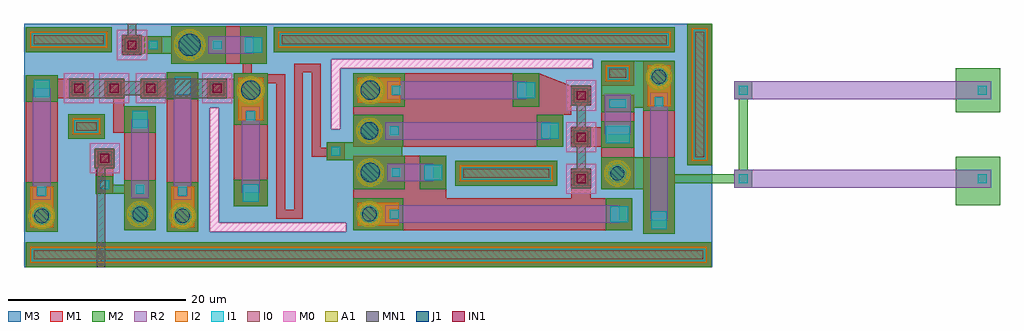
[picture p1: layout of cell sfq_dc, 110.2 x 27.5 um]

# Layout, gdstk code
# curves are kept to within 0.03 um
from math import pi, radians
import gdstk
lib = gdstk.Library(unit=1e-6, precision=1e-09)
def R(c, l, rs):  # rectangles x0, y0, x1, y1
    for r in rs: c.add(gdstk.rectangle(r[:2], r[2:], *l))
def P(c, l, *ps):  # polygons
    for p in ps: c.add(gdstk.Polygon(p, *l))
M1 = (1, 0)
I1 = (3, 0)
J1 = (4, 0)
A1 = (5, 0)
M2 = (6, 0)
I2 = (8, 0)
R2 = (9, 0)
M3 = (10, 0)
M0 = (30, 0)
I0 = (31, 0)
IN1 = (32, 0)
MN1 = (34, 0)

ak_qc6p01j47 = lib.new_cell('ak_qc6p01j47')
P(ak_qc6p01j47, M1, [(-0.031,-1.8),(-0.374,-1.761),(-0.703,-1.657),(-1.007,-1.492),(-1.273,-1.273),(-1.51,-0.98),(-1.669,-0.674),(-1.773,-0.313),(-1.8,0.031),(-1.761,0.374),(-1.657,0.703),(-1.492,1.007),(-1.273,1.273),(-0.98,1.51),(-0.674,1.669),(-0.313,1.773),(0.031,1.8),(0.374,1.761),(0.703,1.657),(1.007,1.492),(1.273,1.273),(1.51,0.98),(1.669,0.674),(1.773,0.313),(1.8,-0.031),(1.761,-0.374),(1.657,-0.703),(1.492,-1.007),(1.273,-1.273),(0.98,-1.51),(0.674,-1.669),(0.313,-1.773)])
P(ak_qc6p01j47, I1, [(-0.017,-1),(-0.391,-0.921),(-0.719,-0.695),(-0.921,-0.391),(-1,0.017),(-0.921,0.391),(-0.695,0.719),(-0.391,0.921),(0.017,1),(0.391,0.921),(0.719,0.695),(0.921,0.391),(1,-0.017),(0.921,-0.391),(0.695,-0.719),(0.391,-0.921)])
P(ak_qc6p01j47, J1, [(-0.14,-0.78),(-0.34,-0.72),(-0.66,-0.44),(-0.76,-0.22),(-0.78,0.14),(-0.7,0.38),(-0.46,0.64),(-0.14,0.78),(0.14,0.78),(0.44,0.66),(0.68,0.4),(0.78,0.14),(0.78,-0.14),(0.66,-0.44),(0.46,-0.64),(0.14,-0.78)])
P(ak_qc6p01j47, A1, [(-0.026,-1.5),(-0.586,-1.381),(-1.061,-1.061),(-1.244,-0.839),(-1.391,-0.562),(-1.5,0.026),(-1.381,0.586),(-1.061,1.061),(-0.839,1.244),(-0.562,1.391),(0.026,1.5),(0.586,1.381),(1.061,1.061),(1.244,0.839),(1.391,0.562),(1.5,-0.026),(1.381,-0.586),(1.061,-1.061),(0.839,-1.244),(0.562,-1.391)])
P(ak_qc6p01j47, M2, [(-0.031,-1.8),(-0.374,-1.761),(-0.703,-1.657),(-1.007,-1.492),(-1.273,-1.273),(-1.51,-0.98),(-1.669,-0.674),(-1.773,-0.313),(-1.8,0.031),(-1.761,0.374),(-1.657,0.703),(-1.492,1.007),(-1.273,1.273),(-0.98,1.51),(-0.674,1.669),(-0.313,1.773),(0.031,1.8),(0.374,1.761),(0.703,1.657),(1.007,1.492),(1.273,1.273),(1.51,0.98),(1.669,0.674),(1.773,0.313),(1.8,-0.031),(1.761,-0.374),(1.657,-0.703),(1.492,-1.007),(1.273,-1.273),(0.98,-1.51),(0.674,-1.669),(0.313,-1.773)])

ak_qc6p06r65 = lib.new_cell('ak_qc6p06r65')
R(ak_qc6p06r65, I1, [(-0.9,-16.7,0.9,-14.7), (-0.5,-1.5,0.5,-0.5)])
R(ak_qc6p06r65, M2, [(-1.4,-17.2,1.4,-14.2), (-1.4,-2,1.4,0)])
R(ak_qc6p06r65, R2, [(-1,-15.7,1,0)])

ak_qc6p03j00_1 = lib.new_cell('ak_qc6p03j00$1')
P(ak_qc6p03j00_1, M1, [(-0.033,-1.9),(-0.363,-1.865),(-0.712,-1.762),(-1.035,-1.593),(-1.344,-1.344),(-1.593,-1.035),(-1.762,-0.712),(-1.865,-0.363),(-1.9,0.033),(-1.865,0.363),(-1.762,0.712),(-1.593,1.035),(-1.344,1.344),(-1.035,1.593),(-0.712,1.762),(-0.363,1.865),(0.033,1.9),(0.363,1.865),(0.712,1.762),(1.035,1.593),(1.344,1.344),(1.593,1.035),(1.762,0.712),(1.865,0.363),(1.9,-0.033),(1.865,-0.363),(1.762,-0.712),(1.593,-1.035),(1.344,-1.344),(1.035,-1.593),(0.712,-1.762),(0.363,-1.865)])
P(ak_qc6p03j00_1, I1, [(-0.019,-1.1),(-0.43,-1.013),(-0.778,-0.778),(-1.013,-0.43),(-1.1,0.019),(-1.013,0.43),(-0.778,0.778),(-0.43,1.013),(0.019,1.1),(0.43,1.013),(0.778,0.778),(1.013,0.43),(1.1,-0.019),(1.013,-0.43),(0.778,-0.778),(0.43,-1.013)])
P(ak_qc6p03j00_1, J1, [(-0.12,-1.08),(-0.58,-0.92),(-0.86,-0.66),(-1.04,-0.3),(-1.08,0.1),(-0.94,0.54),(-0.7,0.82),(-0.3,1.04),(0.12,1.08),(0.58,0.92),(0.86,0.66),(1.04,0.3),(1.08,-0.1),(0.94,-0.54),(0.7,-0.82),(0.3,-1.04)])
P(ak_qc6p03j00_1, A1, [(-0.028,-1.6),(-0.333,-1.565),(-0.651,-1.462),(-1.151,-1.111),(-1.357,-0.848),(-1.494,-0.573),(-1.6,0.028),(-1.565,0.333),(-1.462,0.651),(-1.111,1.151),(-0.848,1.357),(-0.573,1.494),(0.028,1.6),(0.333,1.565),(0.651,1.462),(1.151,1.111),(1.357,0.848),(1.494,0.573),(1.6,-0.028),(1.565,-0.333),(1.462,-0.651),(1.111,-1.151),(0.848,-1.357),(0.573,-1.494)])
P(ak_qc6p03j00_1, M2, [(-0.033,-1.9),(-0.363,-1.865),(-0.712,-1.762),(-1.035,-1.593),(-1.344,-1.344),(-1.593,-1.035),(-1.762,-0.712),(-1.865,-0.363),(-1.9,0.033),(-1.865,0.363),(-1.762,0.712),(-1.593,1.035),(-1.344,1.344),(-1.035,1.593),(-0.712,1.762),(-0.363,1.865),(0.033,1.9),(0.363,1.865),(0.712,1.762),(1.035,1.593),(1.344,1.344),(1.593,1.035),(1.762,0.712),(1.865,0.363),(1.9,-0.033),(1.865,-0.363),(1.762,-0.712),(1.593,-1.035),(1.344,-1.344),(1.035,-1.593),(0.712,-1.762),(0.363,-1.865)])

ak_qc6p03j00s2v00 = lib.new_cell('ak_qc6p03j00s2v00')
R(ak_qc6p03j00s2v00, M1, [(-1.9,-19.1,1.9,1.9)])
R(ak_qc6p03j00s2v00, M2, [(-1.9,-19.1,1.9,-16.1), (-1.9,-3.9,1.9,1.9)])
ak_qc6p03j00s2v00.add(gdstk.Reference(ak_qc6p06r65, (0,-1.9)))
ak_qc6p03j00s2v00.add(gdstk.Reference(ak_qc6p03j00_1, (0,0)))

ak_qc6p03j00s2v00gu = lib.new_cell('ak_qc6p03j00s2v00gu')
R(ak_qc6p03j00s2v00gu, I2, [(-1.4,-3.4,1.4,1.4)])
R(ak_qc6p03j00s2v00gu, M3, [(-1.9,-3.9,1.9,1.9)])
ak_qc6p03j00s2v00gu.add(gdstk.Reference(ak_qc6p03j00s2v00, (0,0)))

ak_qc6p05r99 = lib.new_cell('ak_qc6p05r99')
R(ak_qc6p05r99, I1, [(-0.9,-15.4,0.9,-13.4), (-0.5,-1.5,0.5,-0.5)])
R(ak_qc6p05r99, M2, [(-1.4,-15.9,1.4,-12.9), (-1.4,-2,1.4,0)])
R(ak_qc6p05r99, R2, [(-1,-14.4,1,0)])

ak_qc6p01j61 = lib.new_cell('ak_qc6p01j61')
P(ak_qc6p01j61, M1, [(-0.031,-1.8),(-0.374,-1.761),(-0.703,-1.657),(-1.007,-1.492),(-1.273,-1.273),(-1.51,-0.98),(-1.669,-0.674),(-1.773,-0.313),(-1.8,0.031),(-1.761,0.374),(-1.657,0.703),(-1.492,1.007),(-1.273,1.273),(-0.98,1.51),(-0.674,1.669),(-0.313,1.773),(0.031,1.8),(0.374,1.761),(0.703,1.657),(1.007,1.492),(1.273,1.273),(1.51,0.98),(1.669,0.674),(1.773,0.313),(1.8,-0.031),(1.761,-0.374),(1.657,-0.703),(1.492,-1.007),(1.273,-1.273),(0.98,-1.51),(0.674,-1.669),(0.313,-1.773)])
P(ak_qc6p01j61, I1, [(-0.017,-1),(-0.391,-0.921),(-0.719,-0.695),(-0.921,-0.391),(-1,0.017),(-0.921,0.391),(-0.695,0.719),(-0.391,0.921),(0.017,1),(0.391,0.921),(0.719,0.695),(0.921,0.391),(1,-0.017),(0.921,-0.391),(0.695,-0.719),(0.391,-0.921)])
P(ak_qc6p01j61, J1, [(-0.08,-0.82),(-0.4,-0.72),(-0.68,-0.46),(-0.8,-0.2),(-0.82,0.1),(-0.7,0.44),(-0.54,0.62),(-0.18,0.8),(0.08,0.82),(0.4,0.72),(0.68,0.46),(0.8,0.2),(0.82,-0.1),(0.7,-0.44),(0.54,-0.62),(0.18,-0.8)])
P(ak_qc6p01j61, A1, [(-0.026,-1.5),(-0.586,-1.381),(-1.061,-1.061),(-1.244,-0.839),(-1.391,-0.562),(-1.5,0.026),(-1.381,0.586),(-1.061,1.061),(-0.839,1.244),(-0.562,1.391),(0.026,1.5),(0.586,1.381),(1.061,1.061),(1.244,0.839),(1.391,0.562),(1.5,-0.026),(1.381,-0.586),(1.061,-1.061),(0.839,-1.244),(0.562,-1.391)])
P(ak_qc6p01j61, M2, [(-0.031,-1.8),(-0.374,-1.761),(-0.703,-1.657),(-1.007,-1.492),(-1.273,-1.273),(-1.51,-0.98),(-1.669,-0.674),(-1.773,-0.313),(-1.8,0.031),(-1.761,0.374),(-1.657,0.703),(-1.492,1.007),(-1.273,1.273),(-0.98,1.51),(-0.674,1.669),(-0.313,1.773),(0.031,1.8),(0.374,1.761),(0.703,1.657),(1.007,1.492),(1.273,1.273),(1.51,0.98),(1.669,0.674),(1.773,0.313),(1.8,-0.031),(1.761,-0.374),(1.657,-0.703),(1.492,-1.007),(1.273,-1.273),(0.98,-1.51),(0.674,-1.669),(0.313,-1.773)])

ak_qc6p01j61s1v13 = lib.new_cell('ak_qc6p01j61s1v13')
R(ak_qc6p01j61s1v13, M1, [(-1.8,-17.7,1.8,1.8)])
R(ak_qc6p01j61s1v13, M2, [(-1.8,-17.7,1.8,-14.7), (-1.8,-3.8,1.8,1.8)])
ak_qc6p01j61s1v13.add(gdstk.Reference(ak_qc6p05r99, (0,-1.8)))
ak_qc6p01j61s1v13.add(gdstk.Reference(ak_qc6p01j61, (0,0)))

ak_qc6p01j61s1v13gu = lib.new_cell('ak_qc6p01j61s1v13gu')
R(ak_qc6p01j61s1v13gu, I2, [(-1.3,-3.3,1.3,1.3)])
R(ak_qc6p01j61s1v13gu, M3, [(-1.8,-3.8,1.8,1.8)])
ak_qc6p01j61s1v13gu.add(gdstk.Reference(ak_qc6p01j61s1v13, (0,0)))

ak_qc6p03r24 = lib.new_cell('ak_qc6p03r24')
R(ak_qc6p03r24, I1, [(-0.9,-9.9,0.9,-7.9), (-0.5,-1.5,0.5,-0.5)])
R(ak_qc6p03r24, M2, [(-1.4,-10.4,1.4,-7.4), (-1.4,-2,1.4,0)])
R(ak_qc6p03r24, R2, [(-1,-8.9,1,0)])

ak_qc6p01j72 = lib.new_cell('ak_qc6p01j72')
P(ak_qc6p01j72, M1, [(-0.031,-1.8),(-0.374,-1.761),(-0.703,-1.657),(-1.007,-1.492),(-1.273,-1.273),(-1.51,-0.98),(-1.669,-0.674),(-1.773,-0.313),(-1.8,0.031),(-1.761,0.374),(-1.657,0.703),(-1.492,1.007),(-1.273,1.273),(-0.98,1.51),(-0.674,1.669),(-0.313,1.773),(0.031,1.8),(0.374,1.761),(0.703,1.657),(1.007,1.492),(1.273,1.273),(1.51,0.98),(1.669,0.674),(1.773,0.313),(1.8,-0.031),(1.761,-0.374),(1.657,-0.703),(1.492,-1.007),(1.273,-1.273),(0.98,-1.51),(0.674,-1.669),(0.313,-1.773)])
P(ak_qc6p01j72, I1, [(-0.017,-1),(-0.391,-0.921),(-0.719,-0.695),(-0.921,-0.391),(-1,0.017),(-0.921,0.391),(-0.695,0.719),(-0.391,0.921),(0.017,1),(0.391,0.921),(0.719,0.695),(0.921,0.391),(1,-0.017),(0.921,-0.391),(0.695,-0.719),(0.391,-0.921)])
P(ak_qc6p01j72, J1, [(-0.12,-0.84),(-0.42,-0.74),(-0.68,-0.5),(-0.82,-0.2),(-0.84,0.12),(-0.74,0.42),(-0.48,0.7),(-0.22,0.82),(0.12,0.84),(0.48,0.7),(0.68,0.5),(0.82,0.22),(0.84,-0.12),(0.7,-0.48),(0.52,-0.66),(0.2,-0.82)])
P(ak_qc6p01j72, A1, [(-0.026,-1.5),(-0.586,-1.381),(-1.061,-1.061),(-1.244,-0.839),(-1.391,-0.562),(-1.5,0.026),(-1.381,0.586),(-1.061,1.061),(-0.839,1.244),(-0.562,1.391),(0.026,1.5),(0.586,1.381),(1.061,1.061),(1.244,0.839),(1.391,0.562),(1.5,-0.026),(1.381,-0.586),(1.061,-1.061),(0.839,-1.244),(0.562,-1.391)])
P(ak_qc6p01j72, M2, [(-0.031,-1.8),(-0.374,-1.761),(-0.703,-1.657),(-1.007,-1.492),(-1.273,-1.273),(-1.51,-0.98),(-1.669,-0.674),(-1.773,-0.313),(-1.8,0.031),(-1.761,0.374),(-1.657,0.703),(-1.492,1.007),(-1.273,1.273),(-0.98,1.51),(-0.674,1.669),(-0.313,1.773),(0.031,1.8),(0.374,1.761),(0.703,1.657),(1.007,1.492),(1.273,1.273),(1.51,0.98),(1.669,0.674),(1.773,0.313),(1.8,-0.031),(1.761,-0.374),(1.657,-0.703),(1.492,-1.007),(1.273,-1.273),(0.98,-1.51),(0.674,-1.669),(0.313,-1.773)])

ak_qc6p01j72s0v70 = lib.new_cell('ak_qc6p01j72s0v70')
R(ak_qc6p01j72s0v70, M1, [(-1.8,-12.2,1.8,1.8)])
R(ak_qc6p01j72s0v70, M2, [(-1.8,-12.2,1.8,-9.2), (-1.8,-3.8,1.8,1.8)])
ak_qc6p01j72s0v70.add(gdstk.Reference(ak_qc6p03r24, (0,-1.8)))
ak_qc6p01j72s0v70.add(gdstk.Reference(ak_qc6p01j72, (0,0)))

ak_qc6vm1mn1_1 = lib.new_cell('ak_qc6vm1mn1$1')
R(ak_qc6vm1mn1_1, M1, [(-1.1,-1.1,1.1,1.1)])
R(ak_qc6vm1mn1_1, I0, [(-0.8,-0.8,0.8,0.8)])
R(ak_qc6vm1mn1_1, IN1, [(-0.5,-0.5,0.5,0.5)])
R(ak_qc6vm1mn1_1, MN1, [(-1.1,-1.1,1.1,1.1)])
ak_qc6vm1mn1_1.add(gdstk.FlexPath([(-1.4,1.7),(-1.4,-1.4),(1.4,-1.4),(1.4,1.4),(-1.1,1.4)], 0.6, ends="flush", simple_path=True, layer=30, datatype=0))  # M0

ak_qc6p05r09 = lib.new_cell('ak_qc6p05r09')
R(ak_qc6p05r09, I1, [(-0.9,-13.6,0.9,-11.6), (-0.5,-1.5,0.5,-0.5)])
R(ak_qc6p05r09, M2, [(-1.4,-14.1,1.4,-11.1), (-1.4,-2,1.4,0)])
R(ak_qc6p05r09, R2, [(-1,-12.6,1,0)])

ak_qc6p01j64 = lib.new_cell('ak_qc6p01j64')
P(ak_qc6p01j64, M1, [(-0.031,-1.8),(-0.374,-1.761),(-0.703,-1.657),(-1.007,-1.492),(-1.273,-1.273),(-1.51,-0.98),(-1.669,-0.674),(-1.773,-0.313),(-1.8,0.031),(-1.761,0.374),(-1.657,0.703),(-1.492,1.007),(-1.273,1.273),(-0.98,1.51),(-0.674,1.669),(-0.313,1.773),(0.031,1.8),(0.374,1.761),(0.703,1.657),(1.007,1.492),(1.273,1.273),(1.51,0.98),(1.669,0.674),(1.773,0.313),(1.8,-0.031),(1.761,-0.374),(1.657,-0.703),(1.492,-1.007),(1.273,-1.273),(0.98,-1.51),(0.674,-1.669),(0.313,-1.773)])
P(ak_qc6p01j64, I1, [(-0.017,-1),(-0.391,-0.921),(-0.719,-0.695),(-0.921,-0.391),(-1,0.017),(-0.921,0.391),(-0.695,0.719),(-0.391,0.921),(0.017,1),(0.391,0.921),(0.719,0.695),(0.921,0.391),(1,-0.017),(0.921,-0.391),(0.695,-0.719),(0.391,-0.921)])
P(ak_qc6p01j64, J1, [(-0.14,-0.82),(-0.38,-0.74),(-0.66,-0.5),(-0.8,-0.22),(-0.82,0.14),(-0.72,0.42),(-0.44,0.7),(-0.14,0.82),(0.12,0.82),(0.48,0.68),(0.7,0.44),(0.82,0.14),(0.82,-0.14),(0.68,-0.48),(0.5,-0.66),(0.22,-0.8)])
P(ak_qc6p01j64, A1, [(-0.026,-1.5),(-0.586,-1.381),(-1.061,-1.061),(-1.244,-0.839),(-1.391,-0.562),(-1.5,0.026),(-1.381,0.586),(-1.061,1.061),(-0.839,1.244),(-0.562,1.391),(0.026,1.5),(0.586,1.381),(1.061,1.061),(1.244,0.839),(1.391,0.562),(1.5,-0.026),(1.381,-0.586),(1.061,-1.061),(0.839,-1.244),(0.562,-1.391)])
P(ak_qc6p01j64, M2, [(-0.031,-1.8),(-0.374,-1.761),(-0.703,-1.657),(-1.007,-1.492),(-1.273,-1.273),(-1.51,-0.98),(-1.669,-0.674),(-1.773,-0.313),(-1.8,0.031),(-1.761,0.374),(-1.657,0.703),(-1.492,1.007),(-1.273,1.273),(-0.98,1.51),(-0.674,1.669),(-0.313,1.773),(0.031,1.8),(0.374,1.761),(0.703,1.657),(1.007,1.492),(1.273,1.273),(1.51,0.98),(1.669,0.674),(1.773,0.313),(1.8,-0.031),(1.761,-0.374),(1.657,-0.703),(1.492,-1.007),(1.273,-1.273),(0.98,-1.51),(0.674,-1.669),(0.313,-1.773)])

ak_qc6p01j64s = lib.new_cell('ak_qc6p01j64s')
R(ak_qc6p01j64s, M1, [(-1.8,-15.9,1.8,1.8)])
R(ak_qc6p01j64s, M2, [(-1.8,-15.9,1.8,-12.9), (-1.8,-3.8,1.8,1.8)])
ak_qc6p01j64s.add(gdstk.Reference(ak_qc6p05r09, (0,-1.8)))
ak_qc6p01j64s.add(gdstk.Reference(ak_qc6p01j64, (0,0)))

ak_qc6p01j64sgu = lib.new_cell('ak_qc6p01j64sgu')
R(ak_qc6p01j64sgu, I2, [(-1.3,-3.3,1.3,1.3)])
R(ak_qc6p01j64sgu, M3, [(-1.8,-3.8,1.8,1.8)])
ak_qc6p01j64sgu.add(gdstk.Reference(ak_qc6p01j64s, (0,0)))

ak_qc6vm21_1 = lib.new_cell('ak_qc6vm21$1')
R(ak_qc6vm21_1, M1, [(-1,-1,1,1)])
R(ak_qc6vm21_1, I1, [(-0.5,-0.5,0.5,0.5)])
R(ak_qc6vm21_1, M2, [(-1,-1,1,1)])

ak_qc6vm2r2_1 = lib.new_cell('ak_qc6vm2r2$1')
R(ak_qc6vm2r2_1, I1, [(-0.5,-0.5,0.5,0.5)])
R(ak_qc6vm2r2_1, M2, [(-1,-1,1,1)])
R(ak_qc6vm2r2_1, R2, [(-1,-1,1,1)])

ak_qc6p01r36 = lib.new_cell('ak_qc6p01r36')
R(ak_qc6p01r36, I1, [(-0.9,-6.1,0.9,-4.1), (-0.5,-1.5,0.5,-0.5)])
R(ak_qc6p01r36, M2, [(-1.4,-6.6,1.4,-3.6), (-1.4,-2,1.4,0)])
R(ak_qc6p01r36, R2, [(-1,-5.1,1,0)])

ak_qc6p04j10 = lib.new_cell('ak_qc6p04j10')
P(ak_qc6p04j10, M1, [(-0.037,-2.1),(-0.437,-2.054),(-0.821,-1.933),(-1.205,-1.72),(-1.511,-1.459),(-1.781,-1.113),(-1.961,-0.753),(-2.068,-0.365),(-2.1,0.037),(-2.054,0.437),(-1.933,0.821),(-1.72,1.205),(-1.459,1.511),(-1.113,1.781),(-0.753,1.961),(-0.365,2.068),(0.037,2.1),(0.437,2.054),(0.821,1.933),(1.205,1.72),(1.511,1.459),(1.781,1.113),(1.961,0.753),(2.068,0.365),(2.1,-0.037),(2.054,-0.437),(1.933,-0.821),(1.72,-1.205),(1.459,-1.511),(1.113,-1.781),(0.753,-1.961),(0.365,-2.068)])
P(ak_qc6p04j10, I1, [(-0.021,-1.2),(-0.469,-1.105),(-0.849,-0.849),(-1.113,-0.45),(-1.2,0.021),(-1.105,0.469),(-0.849,0.849),(-0.45,1.113),(0.021,1.2),(0.469,1.105),(0.849,0.849),(1.113,0.45),(1.2,-0.021),(1.105,-0.469),(0.849,-0.849),(0.45,-1.113)])
P(ak_qc6p04j10, J1, [(-0.18,-1.24),(-0.64,-1.08),(-1.02,-0.72),(-1.22,-0.28),(-1.24,0.18),(-1.08,0.64),(-0.72,1.02),(-0.28,1.22),(0.18,1.24),(0.64,1.08),(1.02,0.72),(1.22,0.28),(1.24,-0.18),(1.08,-0.64),(0.72,-1.02),(0.28,-1.22)])
P(ak_qc6p04j10, A1, [(-0.031,-1.8),(-0.374,-1.761),(-0.703,-1.657),(-1.007,-1.492),(-1.273,-1.273),(-1.51,-0.98),(-1.669,-0.674),(-1.773,-0.313),(-1.8,0.031),(-1.761,0.374),(-1.657,0.703),(-1.492,1.007),(-1.273,1.273),(-0.98,1.51),(-0.674,1.669),(-0.313,1.773),(0.031,1.8),(0.374,1.761),(0.703,1.657),(1.007,1.492),(1.273,1.273),(1.51,0.98),(1.669,0.674),(1.773,0.313),(1.8,-0.031),(1.761,-0.374),(1.657,-0.703),(1.492,-1.007),(1.273,-1.273),(0.98,-1.51),(0.674,-1.669),(0.313,-1.773)])
P(ak_qc6p04j10, M2, [(-0.037,-2.1),(-0.437,-2.054),(-0.821,-1.933),(-1.205,-1.72),(-1.511,-1.459),(-1.781,-1.113),(-1.961,-0.753),(-2.068,-0.365),(-2.1,0.037),(-2.054,0.437),(-1.933,0.821),(-1.72,1.205),(-1.459,1.511),(-1.113,1.781),(-0.753,1.961),(-0.365,2.068),(0.037,2.1),(0.437,2.054),(0.821,1.933),(1.205,1.72),(1.511,1.459),(1.781,1.113),(1.961,0.753),(2.068,0.365),(2.1,-0.037),(2.054,-0.437),(1.933,-0.821),(1.72,-1.205),(1.459,-1.511),(1.113,-1.781),(0.753,-1.961),(0.365,-2.068)])

ak_qc6p04j10s0v70 = lib.new_cell('ak_qc6p04j10s0v70')
R(ak_qc6p04j10s0v70, M1, [(-2.1,-8.7,2.1,2.1)])
R(ak_qc6p04j10s0v70, M2, [(-2.1,-8.7,2.1,-5.7), (-2.1,-4.1,2.1,2.1)])
ak_qc6p04j10s0v70.add(gdstk.Reference(ak_qc6p01r36, (0,-2.1)))
ak_qc6p04j10s0v70.add(gdstk.Reference(ak_qc6p04j10, (0,0)))

ak_qc6p01r40 = lib.new_cell('ak_qc6p01r40')
R(ak_qc6p01r40, I1, [(-0.9,-6.2,0.9,-4.2), (-0.5,-1.5,0.5,-0.5)])
R(ak_qc6p01r40, M2, [(-1.4,-6.7,1.4,-3.7), (-1.4,-2,1.4,0)])
R(ak_qc6p01r40, R2, [(-1,-5.2,1,0)])

ak_qc6p03j00s0v54 = lib.new_cell('ak_qc6p03j00s0v54')
R(ak_qc6p03j00s0v54, M1, [(-1.9,-8.6,1.9,1.9)])
R(ak_qc6p03j00s0v54, M2, [(-1.9,-8.6,1.9,-5.6), (-1.9,-3.9,1.9,1.9)])
ak_qc6p03j00s0v54.add(gdstk.Reference(ak_qc6p01r40, (0,-1.9)))
ak_qc6p03j00s0v54.add(gdstk.Reference(ak_qc6p03j00_1, (0,0)))

ak_qc6p08r11 = lib.new_cell('ak_qc6p08r11')
R(ak_qc6p08r11, I1, [(-0.9,-19.6,0.9,-17.6), (-0.5,-1.5,0.5,-0.5)])
R(ak_qc6p08r11, M2, [(-1.4,-20.1,1.4,-17.1), (-1.4,-2,1.4,0)])
R(ak_qc6p08r11, R2, [(-1,-18.6,1,0)])

ak_qc6p02j46 = lib.new_cell('ak_qc6p02j46')
P(ak_qc6p02j46, M1, [(-0.031,-1.8),(-0.374,-1.761),(-0.703,-1.657),(-1.007,-1.492),(-1.273,-1.273),(-1.51,-0.98),(-1.669,-0.674),(-1.773,-0.313),(-1.8,0.031),(-1.761,0.374),(-1.657,0.703),(-1.492,1.007),(-1.273,1.273),(-0.98,1.51),(-0.674,1.669),(-0.313,1.773),(0.031,1.8),(0.374,1.761),(0.703,1.657),(1.007,1.492),(1.273,1.273),(1.51,0.98),(1.669,0.674),(1.773,0.313),(1.8,-0.031),(1.761,-0.374),(1.657,-0.703),(1.492,-1.007),(1.273,-1.273),(0.98,-1.51),(0.674,-1.669),(0.313,-1.773)])
P(ak_qc6p02j46, I1, [(-0.017,-1),(-0.391,-0.921),(-0.719,-0.695),(-0.921,-0.391),(-1,0.017),(-0.921,0.391),(-0.695,0.719),(-0.391,0.921),(0.017,1),(0.391,0.921),(0.719,0.695),(0.921,0.391),(1,-0.017),(0.921,-0.391),(0.695,-0.719),(0.391,-0.921)])
P(ak_qc6p02j46, J1, [(-0.16,-0.98),(-0.5,-0.86),(-0.8,-0.58),(-0.96,-0.26),(-0.98,0.16),(-0.82,0.56),(-0.56,0.82),(-0.16,0.98),(0.16,0.98),(0.56,0.82),(0.8,0.58),(0.98,0.16),(0.98,-0.16),(0.86,-0.5),(0.58,-0.8),(0.16,-0.98)])
P(ak_qc6p02j46, A1, [(-0.026,-1.5),(-0.586,-1.381),(-1.061,-1.061),(-1.244,-0.839),(-1.391,-0.562),(-1.5,0.026),(-1.381,0.586),(-1.061,1.061),(-0.839,1.244),(-0.562,1.391),(0.026,1.5),(0.586,1.381),(1.061,1.061),(1.244,0.839),(1.391,0.562),(1.5,-0.026),(1.381,-0.586),(1.061,-1.061),(0.839,-1.244),(0.562,-1.391)])
P(ak_qc6p02j46, M2, [(-0.031,-1.8),(-0.374,-1.761),(-0.703,-1.657),(-1.007,-1.492),(-1.273,-1.273),(-1.51,-0.98),(-1.669,-0.674),(-1.773,-0.313),(-1.8,0.031),(-1.761,0.374),(-1.657,0.703),(-1.492,1.007),(-1.273,1.273),(-0.98,1.51),(-0.674,1.669),(-0.313,1.773),(0.031,1.8),(0.374,1.761),(0.703,1.657),(1.007,1.492),(1.273,1.273),(1.51,0.98),(1.669,0.674),(1.773,0.313),(1.8,-0.031),(1.761,-0.374),(1.657,-0.703),(1.492,-1.007),(1.273,-1.273),(0.98,-1.51),(0.674,-1.669),(0.313,-1.773)])

ak_qc6p02j46s2v00 = lib.new_cell('ak_qc6p02j46s2v00')
R(ak_qc6p02j46s2v00, M1, [(-1.8,-21.9,1.8,1.8)])
R(ak_qc6p02j46s2v00, M2, [(-1.8,-21.9,1.8,-18.9), (-1.8,-3.8,1.8,1.8)])
ak_qc6p02j46s2v00.add(gdstk.Reference(ak_qc6p08r11, (0,-1.8)))
ak_qc6p02j46s2v00.add(gdstk.Reference(ak_qc6p02j46, (0,0)))

ak_qc6p12r02 = lib.new_cell('ak_qc6p12r02')
R(ak_qc6p12r02, I1, [(-0.9,-27.4,0.9,-25.4), (-0.5,-1.5,0.5,-0.5)])
R(ak_qc6p12r02, M2, [(-1.4,-27.9,1.4,-24.9), (-1.4,-2,1.4,0)])
R(ak_qc6p12r02, R2, [(-1,-26.4,1,0)])

ak_qc6p01j66 = lib.new_cell('ak_qc6p01j66')
P(ak_qc6p01j66, M1, [(-0.031,-1.8),(-0.374,-1.761),(-0.703,-1.657),(-1.007,-1.492),(-1.273,-1.273),(-1.51,-0.98),(-1.669,-0.674),(-1.773,-0.313),(-1.8,0.031),(-1.761,0.374),(-1.657,0.703),(-1.492,1.007),(-1.273,1.273),(-0.98,1.51),(-0.674,1.669),(-0.313,1.773),(0.031,1.8),(0.374,1.761),(0.703,1.657),(1.007,1.492),(1.273,1.273),(1.51,0.98),(1.669,0.674),(1.773,0.313),(1.8,-0.031),(1.761,-0.374),(1.657,-0.703),(1.492,-1.007),(1.273,-1.273),(0.98,-1.51),(0.674,-1.669),(0.313,-1.773)])
P(ak_qc6p01j66, I1, [(-0.017,-1),(-0.391,-0.921),(-0.719,-0.695),(-0.921,-0.391),(-1,0.017),(-0.921,0.391),(-0.695,0.719),(-0.391,0.921),(0.017,1),(0.391,0.921),(0.719,0.695),(0.921,0.391),(1,-0.017),(0.921,-0.391),(0.695,-0.719),(0.391,-0.921)])
P(ak_qc6p01j66, J1, [(-0.16,-0.82),(-0.46,-0.7),(-0.72,-0.42),(-0.82,-0.16),(-0.82,0.16),(-0.72,0.42),(-0.48,0.68),(-0.16,0.82),(0.16,0.82),(0.46,0.7),(0.72,0.42),(0.82,0.16),(0.82,-0.16),(0.72,-0.42),(0.48,-0.68),(0.16,-0.82)])
P(ak_qc6p01j66, A1, [(-0.026,-1.5),(-0.586,-1.381),(-1.061,-1.061),(-1.244,-0.839),(-1.391,-0.562),(-1.5,0.026),(-1.381,0.586),(-1.061,1.061),(-0.839,1.244),(-0.562,1.391),(0.026,1.5),(0.586,1.381),(1.061,1.061),(1.244,0.839),(1.391,0.562),(1.5,-0.026),(1.381,-0.586),(1.061,-1.061),(0.839,-1.244),(0.562,-1.391)])
P(ak_qc6p01j66, M2, [(-0.031,-1.8),(-0.374,-1.761),(-0.703,-1.657),(-1.007,-1.492),(-1.273,-1.273),(-1.51,-0.98),(-1.669,-0.674),(-1.773,-0.313),(-1.8,0.031),(-1.761,0.374),(-1.657,0.703),(-1.492,1.007),(-1.273,1.273),(-0.98,1.51),(-0.674,1.669),(-0.313,1.773),(0.031,1.8),(0.374,1.761),(0.703,1.657),(1.007,1.492),(1.273,1.273),(1.51,0.98),(1.669,0.674),(1.773,0.313),(1.8,-0.031),(1.761,-0.374),(1.657,-0.703),(1.492,-1.007),(1.273,-1.273),(0.98,-1.51),(0.674,-1.669),(0.313,-1.773)])

ak_qc6p01j66s2v00 = lib.new_cell('ak_qc6p01j66s2v00')
R(ak_qc6p01j66s2v00, M1, [(-1.8,-29.7,1.8,1.8)])
R(ak_qc6p01j66s2v00, M2, [(-1.8,-29.7,1.8,-26.7), (-1.8,-3.8,1.8,1.8)])
ak_qc6p01j66s2v00.add(gdstk.Reference(ak_qc6p12r02, (0,-1.8)))
ak_qc6p01j66s2v00.add(gdstk.Reference(ak_qc6p01j66, (0,0)))

ak_qc6p01j66s2v00gu = lib.new_cell('ak_qc6p01j66s2v00gu')
R(ak_qc6p01j66s2v00gu, I2, [(-1.3,-3.3,1.3,1.3)])
R(ak_qc6p01j66s2v00gu, M3, [(-1.8,-3.8,1.8,1.8)])
ak_qc6p01j66s2v00gu.add(gdstk.Reference(ak_qc6p01j66s2v00, (0,0)))

ak_qc6p05r25 = lib.new_cell('ak_qc6p05r25')
R(ak_qc6p05r25, I1, [(-0.9,-13.9,0.9,-11.9), (-0.5,-1.5,0.5,-0.5)])
R(ak_qc6p05r25, M2, [(-1.4,-14.4,1.4,-11.4), (-1.4,-2,1.4,0)])
R(ak_qc6p05r25, R2, [(-1,-12.9,1,0)])

ak_qc6p01j59 = lib.new_cell('ak_qc6p01j59')
P(ak_qc6p01j59, M1, [(-0.031,-1.8),(-0.374,-1.761),(-0.703,-1.657),(-1.007,-1.492),(-1.273,-1.273),(-1.51,-0.98),(-1.669,-0.674),(-1.773,-0.313),(-1.8,0.031),(-1.761,0.374),(-1.657,0.703),(-1.492,1.007),(-1.273,1.273),(-0.98,1.51),(-0.674,1.669),(-0.313,1.773),(0.031,1.8),(0.374,1.761),(0.703,1.657),(1.007,1.492),(1.273,1.273),(1.51,0.98),(1.669,0.674),(1.773,0.313),(1.8,-0.031),(1.761,-0.374),(1.657,-0.703),(1.492,-1.007),(1.273,-1.273),(0.98,-1.51),(0.674,-1.669),(0.313,-1.773)])
P(ak_qc6p01j59, I1, [(-0.017,-1),(-0.391,-0.921),(-0.719,-0.695),(-0.921,-0.391),(-1,0.017),(-0.921,0.391),(-0.695,0.719),(-0.391,0.921),(0.017,1),(0.391,0.921),(0.719,0.695),(0.921,0.391),(1,-0.017),(0.921,-0.391),(0.695,-0.719),(0.391,-0.921)])
P(ak_qc6p01j59, J1, [(-0.04,-0.82),(-0.4,-0.72),(-0.66,-0.48),(-0.78,-0.24),(-0.82,0.04),(-0.72,0.4),(-0.48,0.66),(-0.24,0.78),(0.04,0.82),(0.4,0.72),(0.66,0.48),(0.78,0.24),(0.82,-0.04),(0.72,-0.4),(0.48,-0.66),(0.24,-0.78)])
P(ak_qc6p01j59, A1, [(-0.026,-1.5),(-0.586,-1.381),(-1.061,-1.061),(-1.244,-0.839),(-1.391,-0.562),(-1.5,0.026),(-1.381,0.586),(-1.061,1.061),(-0.839,1.244),(-0.562,1.391),(0.026,1.5),(0.586,1.381),(1.061,1.061),(1.244,0.839),(1.391,0.562),(1.5,-0.026),(1.381,-0.586),(1.061,-1.061),(0.839,-1.244),(0.562,-1.391)])
P(ak_qc6p01j59, M2, [(-0.031,-1.8),(-0.374,-1.761),(-0.703,-1.657),(-1.007,-1.492),(-1.273,-1.273),(-1.51,-0.98),(-1.669,-0.674),(-1.773,-0.313),(-1.8,0.031),(-1.761,0.374),(-1.657,0.703),(-1.492,1.007),(-1.273,1.273),(-0.98,1.51),(-0.674,1.669),(-0.313,1.773),(0.031,1.8),(0.374,1.761),(0.703,1.657),(1.007,1.492),(1.273,1.273),(1.51,0.98),(1.669,0.674),(1.773,0.313),(1.8,-0.031),(1.761,-0.374),(1.657,-0.703),(1.492,-1.007),(1.273,-1.273),(0.98,-1.51),(0.674,-1.669),(0.313,-1.773)])

ak_qc6p01j59s = lib.new_cell('ak_qc6p01j59s')
R(ak_qc6p01j59s, M1, [(-1.8,-16.2,1.8,1.8)])
R(ak_qc6p01j59s, M2, [(-1.8,-16.2,1.8,-13.2), (-1.8,-3.8,1.8,1.8)])
ak_qc6p01j59s.add(gdstk.Reference(ak_qc6p05r25, (0,-1.8)))
ak_qc6p01j59s.add(gdstk.Reference(ak_qc6p01j59, (0,0)))

ak_qc6p01j59sgu = lib.new_cell('ak_qc6p01j59sgu')
R(ak_qc6p01j59sgu, I2, [(-1.3,-3.3,1.3,1.3)])
R(ak_qc6p01j59sgu, M3, [(-1.8,-3.8,1.8,1.8)])
ak_qc6p01j59sgu.add(gdstk.Reference(ak_qc6p01j59s, (0,0)))

ak_qc6p00r72 = lib.new_cell('ak_qc6p00r72')
R(ak_qc6p00r72, I1, [(-1.3,-5.5,1.4,-3.5), (-0.9,-1.5,1,-0.5)])
R(ak_qc6p00r72, M2, [(-1.8,-6,1.9,-3), (-1.8,-2,1.9,0)])
R(ak_qc6p00r72, R2, [(-1.4,-4.5,1.5,0)])

ak_qc6p03r66 = lib.new_cell('ak_qc6p03r66')
R(ak_qc6p03r66, I1, [(-0.9,-10.7,0.9,-8.7), (-0.5,-1.5,0.5,-0.5)])
R(ak_qc6p03r66, M2, [(-1.4,-11.2,1.4,-8.2), (-1.4,-2,1.4,0)])
R(ak_qc6p03r66, R2, [(-1,-9.7,1,0)])

ak_qc6p03j00s1v26 = lib.new_cell('ak_qc6p03j00s1v26')
R(ak_qc6p03j00s1v26, M1, [(-1.9,-13.1,1.9,1.9)])
R(ak_qc6p03j00s1v26, M2, [(-1.9,-13.1,1.9,-10.1), (-1.9,-3.9,1.9,1.9)])
ak_qc6p03j00s1v26.add(gdstk.Reference(ak_qc6p03r66, (0,-1.9)))
ak_qc6p03j00s1v26.add(gdstk.Reference(ak_qc6p03j00_1, (0,0)))

ak_qc6p03j00s1v26gu = lib.new_cell('ak_qc6p03j00s1v26gu')
R(ak_qc6p03j00s1v26gu, I2, [(-1.4,-3.4,1.4,1.4)])
R(ak_qc6p03j00s1v26gu, M3, [(-1.9,-3.9,1.9,1.9)])
ak_qc6p03j00s1v26gu.add(gdstk.Reference(ak_qc6p03j00s1v26, (0,0)))

sfq_dc = lib.new_cell('sfq_dc')
R(sfq_dc, M1, [(37,-12.2,47.5,-11.2), (61.6,-12.2,63.8,-11.1), (65,-11.2,68.7,-0.5), (7.9,-9.7,9.9,-8.8), (63.8,-6.4,65,-4.2), (9.9,-4.8,11.1,-0.9), (37,-2.8,58,-1.9), (3.6,-0.9,4.9,1.3), (15.2,-0.9,15.9,1.3), (22.7,-0.9,23.5,1.3), (13.1,4.1,13.4,6.1)])
P(sfq_dc, M1, [(58,-2.8),(58,1.9),(61.6,0.5),(61.6,-2.8)])
R(sfq_dc, M2, [(69.7,-16.2,73.3,-11.2), (105,-13,110,-7.5), (37,-11.2,42.5,-2.8), (65,-11.2,68.7,-7.6), (68.7,-11.2,73.3,-7.6), (36,-7.9,37,-5.9), (105,-2.5,110,2.5), (65,-2,73.3,3.3), (15.4,4.1,16.7,6.1)])
R(sfq_dc, M3, [(32.1,2.5,34.5,3.5)])
P(sfq_dc, M3, [(-0.2,-20),(-0.2,7.5),(32.1,7.5),(32.1,-15),(21.8,-15),(21.8,-2),(20.8,-2),(20.8,-16),(32.1,-16),(32.1,-20)],
  [(32.1,-20),(32.1,-16),(36.2,-16),(36.2,-15),(32.1,-15),(32.1,2.5),(34.5,2.5),(34.5,-4.4),(35.5,-4.4),(35.5,2.5),(64,2.5),(64,3.5),(32.1,3.5),(32.1,7.5),(77.5,7.5),(77.5,-20)])
sfq_dc.add(gdstk.FlexPath([(76.1,-8.5),(76.1,7.5)], 2.8, ends="flush", simple_path=True, layer=6, datatype=0))  # M2
sfq_dc.add(gdstk.FlexPath([(0,5.7),(9.7,5.7)], 2.8, ends="flush", simple_path=True, layer=6, datatype=0))  # M2
sfq_dc.add(gdstk.FlexPath([(73.3,5.7),(28,5.7)], 2.8, ends="flush", simple_path=True, layer=6, datatype=0))  # M2
sfq_dc.add(gdstk.FlexPath([(65,1.9),(68.7,1.9)], 2.8, ends="flush", simple_path=True, layer=6, datatype=0))  # M2
sfq_dc.add(gdstk.FlexPath([(81,0),(81,-10)], 1, ends="flush", simple_path=True, layer=6, datatype=0))  # M2
sfq_dc.add(gdstk.FlexPath([(4.8,-4.1),(8.9,-4.1)], 2.8, ends="flush", simple_path=True, layer=6, datatype=0))  # M2
sfq_dc.add(gdstk.FlexPath([(48.5,-9.4),(60,-9.4)], 2.8, ends="flush", simple_path=True, layer=6, datatype=0))  # M2
sfq_dc.add(gdstk.FlexPath([(81,-10),(73,-10)], 1, ends="flush", simple_path=True, layer=6, datatype=0))  # M2
sfq_dc.add(gdstk.FlexPath([(9.5,-11.2),(11.4,-11.2)], 1, ends="flush", simple_path=True, layer=6, datatype=0))  # M2
sfq_dc.add(gdstk.FlexPath([(0,-18.6),(77.4,-18.6)], 2.8, ends="flush", simple_path=True, layer=6, datatype=0))  # M2
sfq_dc.add(gdstk.FlexPath([(76.1,-8.5),(76.1,7.5)], 2.8, ends="flush", simple_path=True, layer=1, datatype=0))  # M1
sfq_dc.add(gdstk.FlexPath([(0,5.7),(9.7,5.7)], 2.8, ends="flush", simple_path=True, layer=1, datatype=0))  # M1
sfq_dc.add(gdstk.FlexPath([(73.3,5.7),(28,5.7)], 2.8, ends="flush", simple_path=True, layer=1, datatype=0))  # M1
sfq_dc.add(gdstk.FlexPath([(65,1.9),(68.7,1.9)], 2.8, ends="flush", simple_path=True, layer=1, datatype=0))  # M1
sfq_dc.add(gdstk.FlexPath([(25,1.9),(25,3)], 1, ends="flush", simple_path=True, layer=1, datatype=0))  # M1
sfq_dc.add(gdstk.FlexPath([(27.3,1.3),(28.8,1.3),(28.8,-14),(30.8,-14),(30.8,2.5),(32.8,2.5),(32.8,-7),(34,-7)], 1, ends="flush", simple_path=True, layer=1, datatype=0))  # M1
sfq_dc.add(gdstk.FlexPath([(4.8,-4.1),(8.9,-4.1)], 2.8, ends="flush", simple_path=True, layer=1, datatype=0))  # M1
sfq_dc.add(gdstk.FlexPath([(48.5,-9.4),(60,-9.4)], 2.8, ends="flush", simple_path=True, layer=1, datatype=0))  # M1
sfq_dc.add(gdstk.FlexPath([(0,-18.6),(77.4,-18.6)], 2.8, ends="flush", simple_path=True, layer=1, datatype=0))  # M1
sfq_dc.add(gdstk.FlexPath([(76.1,-7.8),(76.1,6.8)], 1.4, ends="flush", simple_path=True, layer=3, datatype=0))  # I1
sfq_dc.add(gdstk.FlexPath([(0.7,5.7),(9,5.7)], 1.4, ends="flush", simple_path=True, layer=3, datatype=0))  # I1
sfq_dc.add(gdstk.FlexPath([(72.6,5.7),(28.7,5.7)], 1.4, ends="flush", simple_path=True, layer=3, datatype=0))  # I1
sfq_dc.add(gdstk.FlexPath([(65.7,1.9),(68,1.9)], 1.4, ends="flush", simple_path=True, layer=3, datatype=0))  # I1
sfq_dc.add(gdstk.FlexPath([(5.5,-4.1),(8.2,-4.1)], 1.4, ends="flush", simple_path=True, layer=3, datatype=0))  # I1
sfq_dc.add(gdstk.FlexPath([(49.2,-9.4),(59.3,-9.4)], 1.4, ends="flush", simple_path=True, layer=3, datatype=0))  # I1
sfq_dc.add(gdstk.FlexPath([(0.7,-18.6),(76.7,-18.6)], 1.4, ends="flush", simple_path=True, layer=3, datatype=0))  # I1
sfq_dc.add(gdstk.FlexPath([(82,0),(107,0)], 2, ends="flush", simple_path=True, layer=9, datatype=0))  # R2
sfq_dc.add(gdstk.FlexPath([(82,-10),(107,-10)], 2, ends="flush", simple_path=True, layer=9, datatype=0))  # R2
sfq_dc.add(gdstk.FlexPath([(76.1,-8),(76.1,7)], 1.8, ends="flush", simple_path=True, layer=8, datatype=0))  # I2
sfq_dc.add(gdstk.FlexPath([(0.5,5.7),(9.2,5.7)], 1.8, ends="flush", simple_path=True, layer=8, datatype=0))  # I2
sfq_dc.add(gdstk.FlexPath([(72.8,5.7),(28.5,5.7)], 1.8, ends="flush", simple_path=True, layer=8, datatype=0))  # I2
sfq_dc.add(gdstk.FlexPath([(65.5,1.9),(68.2,1.9)], 1.8, ends="flush", simple_path=True, layer=8, datatype=0))  # I2
sfq_dc.add(gdstk.FlexPath([(5.3,-4.1),(8.4,-4.1)], 1.8, ends="flush", simple_path=True, layer=8, datatype=0))  # I2
sfq_dc.add(gdstk.FlexPath([(49,-9.4),(59.5,-9.4)], 1.8, ends="flush", simple_path=True, layer=8, datatype=0))  # I2
sfq_dc.add(gdstk.FlexPath([(0.5,-18.6),(76.9,-18.6)], 1.8, ends="flush", simple_path=True, layer=8, datatype=0))  # I2
sfq_dc.add(gdstk.FlexPath([(76.1,-8.5),(76.1,7.5)], 2.8, ends="flush", simple_path=True, layer=10, datatype=0))  # M3
sfq_dc.add(gdstk.FlexPath([(0,5.7),(9.7,5.7)], 2.8, ends="flush", simple_path=True, layer=10, datatype=0))  # M3
sfq_dc.add(gdstk.FlexPath([(73.3,5.7),(28,5.7)], 2.8, ends="flush", simple_path=True, layer=10, datatype=0))  # M3
sfq_dc.add(gdstk.FlexPath([(65,1.9),(68.7,1.9)], 2.8, ends="flush", simple_path=True, layer=10, datatype=0))  # M3
sfq_dc.add(gdstk.FlexPath([(4.8,-4.1),(8.9,-4.1)], 2.8, ends="flush", simple_path=True, layer=10, datatype=0))  # M3
sfq_dc.add(gdstk.FlexPath([(48.5,-9.4),(60,-9.4)], 2.8, ends="flush", simple_path=True, layer=10, datatype=0))  # M3
sfq_dc.add(gdstk.FlexPath([(0,-18.6),(77.4,-18.6)], 2.8, ends="flush", simple_path=True, layer=10, datatype=0))  # M3
sfq_dc.add(gdstk.FlexPath([(12,5),(12,7.5)], 1, ends="flush", simple_path=True, layer=34, datatype=0))  # MN1
sfq_dc.add(gdstk.FlexPath([(7.1,0.2),(8.9,0.2)], 2.2, ends="flush", simple_path=True, layer=34, datatype=0))  # MN1
sfq_dc.add(gdstk.FlexPath([(15.2,0.2),(20.5,0.2)], 2.2, ends="flush", simple_path=True, layer=34, datatype=0))  # MN1
sfq_dc.add(gdstk.FlexPath([(11.1,0.2),(13,0.2)], 1.6, ends="flush", simple_path=True, layer=34, datatype=0))  # MN1
sfq_dc.add(gdstk.FlexPath([(62.7,-1.7),(62.7,-4.2)], 1, ends="flush", simple_path=True, layer=34, datatype=0))  # MN1
sfq_dc.add(gdstk.FlexPath([(62.7,-6.4),(62.7,-8.9)], 1, ends="flush", simple_path=True, layer=34, datatype=0))  # MN1
sfq_dc.add(gdstk.FlexPath([(8.5,-8),(8.5,-20)], 1, ends="flush", simple_path=True, layer=34, datatype=0))  # MN1
sfq_dc.add(gdstk.FlexPath([(64,3),(35,3),(35,-4.4)], 1, ends="flush", simple_path=True, layer=30, datatype=0))  # M0
sfq_dc.add(gdstk.FlexPath([(21.3,-2),(21.3,-15.5),(36.2,-15.5)], 1, ends="flush", simple_path=True, layer=30, datatype=0))  # M0
sfq_dc.add(gdstk.FlexPath([(76.1,-7.6),(76.1,6.6)], 1, ends="flush", simple_path=True, layer=31, datatype=0))  # I0
sfq_dc.add(gdstk.FlexPath([(0.9,5.7),(8.8,5.7)], 1, ends="flush", simple_path=True, layer=31, datatype=0))  # I0
sfq_dc.add(gdstk.FlexPath([(72.4,5.7),(28.9,5.7)], 1, ends="flush", simple_path=True, layer=31, datatype=0))  # I0
sfq_dc.add(gdstk.FlexPath([(65.9,1.9),(67.8,1.9)], 1, ends="flush", simple_path=True, layer=31, datatype=0))  # I0
sfq_dc.add(gdstk.FlexPath([(5.7,-4.1),(8,-4.1)], 1, ends="flush", simple_path=True, layer=31, datatype=0))  # I0
sfq_dc.add(gdstk.FlexPath([(49.4,-9.4),(59.1,-9.4)], 1, ends="flush", simple_path=True, layer=31, datatype=0))  # I0
sfq_dc.add(gdstk.FlexPath([(0.9,-18.6),(76.5,-18.6)], 1, ends="flush", simple_path=True, layer=31, datatype=0))  # I0
sfq_dc.add(gdstk.Reference(ak_qc6p01j47, (66.8,-9.4)))
sfq_dc.add(gdstk.Reference(ak_qc6p03j00s2v00gu, (38.9,0), rotation=pi/2))
sfq_dc.add(gdstk.Reference(ak_qc6p01j61s1v13gu, (71.5,1.5)))
sfq_dc.add(gdstk.Reference(ak_qc6p01j72s0v70, (12.9,-14), rotation=pi))
sfq_dc.add(gdstk.Reference(ak_qc6vm1mn1_1, (62.7,-5.3), rotation=pi))
sfq_dc.add(gdstk.Reference(ak_qc6vm1mn1_1, (62.7,-0.6), rotation=pi))
sfq_dc.add(gdstk.Reference(ak_qc6vm1mn1_1, (6,0.2), x_reflection=True))
sfq_dc.add(gdstk.Reference(ak_qc6vm1mn1_1, (10,0.2), rotation=pi))
sfq_dc.add(gdstk.Reference(ak_qc6vm1mn1_1, (14.1,0.2), rotation=pi))
sfq_dc.add(gdstk.Reference(ak_qc6vm1mn1_1, (62.7,-10), rotation=pi))
sfq_dc.add(gdstk.Reference(ak_qc6vm1mn1_1, (21.6,0.2), rotation=pi))
sfq_dc.add(gdstk.Reference(ak_qc6vm1mn1_1, (8.9,-7.7), rotation=pi))
sfq_dc.add(gdstk.Reference(ak_qc6vm1mn1_1, (12,5.1), rotation=pi))
sfq_dc.add(gdstk.Reference(ak_qc6p01j64sgu, (1.8,-14.2), rotation=pi))
sfq_dc.add(gdstk.Reference(ak_qc6vm21_1, (35,-6.9)))
sfq_dc.add(gdstk.Reference(ak_qc6vm21_1, (14.4,5.1)))
sfq_dc.add(gdstk.Reference(ak_qc6vm21_1, (8.9,-10.7), rotation=pi))
sfq_dc.add(gdstk.Reference(ak_qc6vm2r2_1, (108,0), rotation=pi/2))
sfq_dc.add(gdstk.Reference(ak_qc6vm2r2_1, (81,0), rotation=pi/2))
sfq_dc.add(gdstk.Reference(ak_qc6vm2r2_1, (108,-10), rotation=pi/2))
sfq_dc.add(gdstk.Reference(ak_qc6vm2r2_1, (81,-10), rotation=pi/2))
sfq_dc.add(gdstk.Reference(ak_qc6p04j10s0v70, (18.5,5.1), rotation=pi/2))
sfq_dc.add(gdstk.Reference(ak_qc6p03j00s0v54, (38.9,-9.3), rotation=pi/2))
sfq_dc.add(gdstk.Reference(ak_qc6p02j46s2v00, (38.8,-4.6), rotation=pi/2))
sfq_dc.add(gdstk.Reference(ak_qc6p01j66s2v00gu, (38.8,-14), rotation=pi/2))
sfq_dc.add(gdstk.Reference(ak_qc6p01j59sgu, (17.7,-14.2), x_reflection=True))
sfq_dc.add(gdstk.Reference(ak_qc6p00r72, (66.8,-0.5)))
sfq_dc.add(gdstk.Reference(ak_qc6p03j00s1v26gu, (25.4,0)))

lib.write_gds('sfq_dc.gds')
